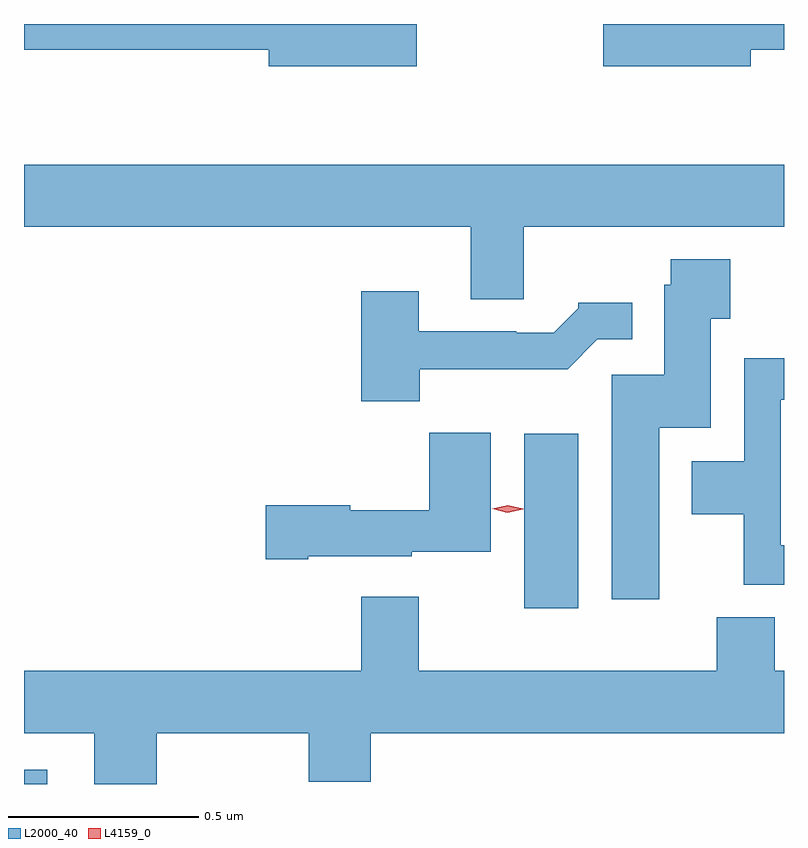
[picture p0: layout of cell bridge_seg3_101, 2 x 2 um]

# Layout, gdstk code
import gdstk
lib = gdstk.Library(unit=1e-6, precision=1e-09)
def R(c, l, rs):  # rectangles x0, y0, x1, y1
    for r in rs: c.add(gdstk.rectangle(r[:2], r[2:], *l))
def P(c, l, *ps):  # polygons
    for p in ps: c.add(gdstk.Polygon(p, *l))
L2000_40 = (2000, 40)
L4159_0 = (4159, 0)

bridge_seg3_101 = lib.new_cell('bridge_seg3_101')
R(bridge_seg3_101, L2000_40, [(567.852,728.754,567.913,728.791), (569.168,729.216,569.311,729.676)])
P(bridge_seg3_101, L2000_40, [(569.764,730.686),(569.852,730.686),(569.852,730.754),(569.376,730.754),(569.376,730.643),(569.764,730.643)],
  [(568.885,730.754),(567.852,730.754),(567.852,730.686),(568.496,730.686),(568.496,730.643),(568.885,730.643)],
  [(569.167,730.22),(569.852,730.22),(569.852,730.384),(567.852,730.384),(567.852,730.22),(569.027,730.22),(569.027,730.03),(569.167,730.03)],
  [(569.524,729.692),(569.659,729.692),(569.659,729.979),(569.711,729.979),(569.711,730.135),(569.554,730.135),(569.554,730.068),(569.537,730.068),(569.537,729.831),(569.399,729.831),(569.399,729.24),(569.524,729.24)],
  [(568.894,729.846),(569.283,729.846),(569.361,729.924),(569.452,729.924),(569.452,730.021),(569.31,730.021),(569.31,730.006),(569.246,729.942),(569.147,729.942),(569.147,729.945),(568.891,729.945),(568.891,730.051),(568.739,730.051),(568.739,729.761),(568.894,729.761)],
  [(569.852,729.382),(569.844,729.382),(569.844,729.765),(569.852,729.765),(569.852,729.874),(569.748,729.874),(569.748,729.604),(569.609,729.604),(569.609,729.464),(569.746,729.464),(569.746,729.278),(569.852,729.278)],
  [(568.6,729.353),(568.872,729.353),(568.872,729.365),(569.08,729.365),(569.08,729.679),(568.918,729.679),(568.918,729.475),(568.71,729.475),(568.71,729.488),(568.488,729.488),(568.488,729.346),(568.6,729.346)],
  [(568.201,728.888),(568.601,728.888),(568.601,728.76),(568.765,728.76),(568.765,728.888),(569.852,728.888),(569.852,729.052),(569.827,729.052),(569.827,729.193),(569.675,729.193),(569.675,729.052),(568.891,729.052),(568.891,729.247),(568.739,729.247),(568.739,729.052),(567.852,729.052),(567.852,728.888),(568.037,728.888),(568.037,728.754),(568.201,728.754)])
P(bridge_seg3_101, L4159_0, [(569.124,729.468),(569.084,729.478),(569.083,729.478),(569.084,729.478),(569.125,729.488),(569.166,729.478),(569.166,729.477),(569.166,729.477)])

lib.write_gds('bridge_seg3_101.gds')
